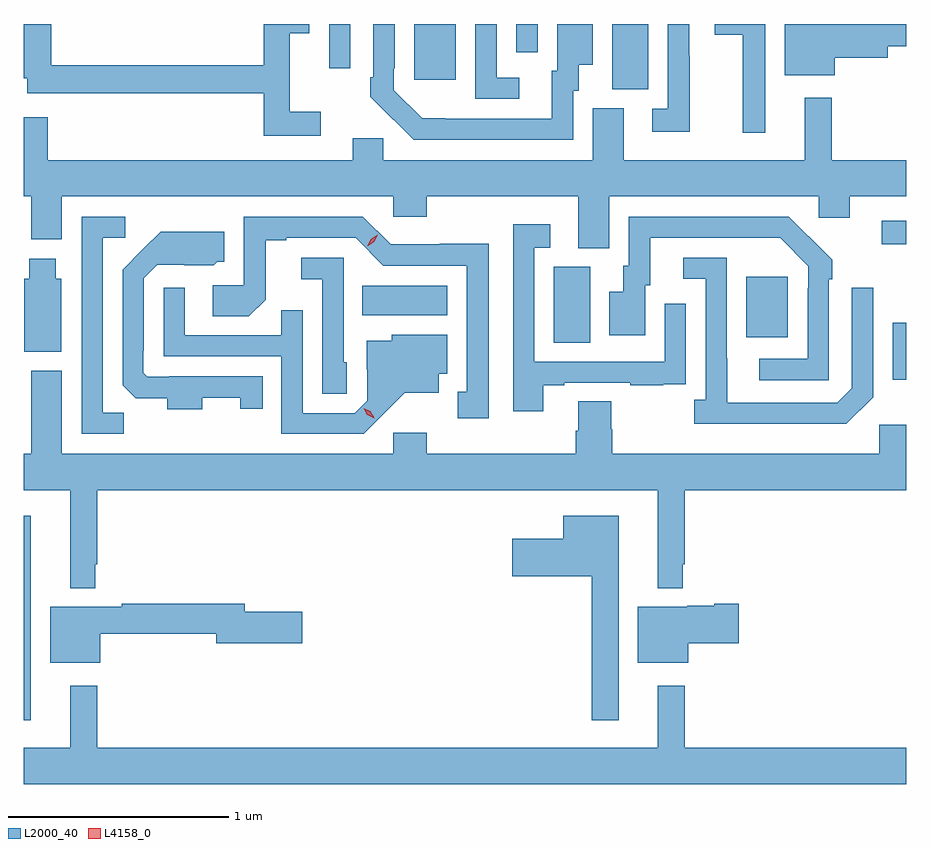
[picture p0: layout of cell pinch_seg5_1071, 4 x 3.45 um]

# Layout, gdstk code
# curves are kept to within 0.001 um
import gdstk
lib = gdstk.Library(unit=1e-6, precision=1e-09)
def R(c, l, rs):  # rectangles x0, y0, x1, y1
    for r in rs: c.add(gdstk.rectangle(r[:2], r[2:], *l))
def P(c, l, *ps):  # polygons
    for p in ps: c.add(gdstk.Polygon(p, *l))
L2000_40 = (2000, 40)
L4158_0 = (4158, 0)

pinch_seg5_1071 = lib.new_cell('pinch_seg5_1071')
R(pinch_seg5_1071, L2000_40, [(804.053,865.041,804.085,865.969), (807.992,866.585,808.053,866.842), (806.456,866.752,806.62,867.096), (807.329,866.777,807.517,867.052), (805.588,866.876,805.972,867.01), (807.942,867.198,808.053,867.306), (806.72,867.901,806.884,868.197), (805.823,867.945,806.011,868.197), (805.437,867.996,805.533,868.197), (806.286,868.068,806.382,868.197)])
P(pinch_seg5_1071, L2000_40, [(807.072,868.052),(807.069,868.052),(807.069,868.197),(806.973,868.197),(806.973,867.813),(806.901,867.813),(806.901,867.708),(807.072,867.708)],
  [(807.415,868.197),(807.185,868.197),(807.185,868.148),(807.311,868.148),(807.311,867.705),(807.415,867.705)],
  [(805.399,867.799),(805.259,867.799),(805.259,868.154),(805.348,868.154),(805.348,868.197),(805.141,868.197),(805.141,868.01),(804.178,868.01),(804.178,868.197),(804.053,868.197),(804.053,867.95),(804.068,867.95),(804.068,867.882),(805.141,867.882),(805.141,867.69),(805.399,867.69)],
  [(806.544,867.894),(806.569,867.894),(806.569,868.013),(806.632,868.013),(806.632,868.197),(806.471,868.197),(806.471,867.984),(806.447,867.984),(806.447,867.768),(805.86,867.769),(805.731,867.897),(805.731,867.997),(805.734,867.997),(805.734,868.197),(805.638,868.197),(805.638,867.955),(805.623,867.955),(805.623,867.867),(805.82,867.672),(806.544,867.672)],
  [(806.299,867.954),(806.196,867.954),(806.196,868.197),(806.1,868.197),(806.1,867.858),(806.299,867.858)],
  [(807.73,868.043),(807.97,868.043),(807.97,868.096),(808.053,868.096),(808.053,868.197),(807.503,868.197),(807.503,867.965),(807.73,867.965)],
  [(806.707,867.416),(807.657,867.416),(807.657,867.318),(807.796,867.318),(807.796,867.416),(808.053,867.416),(808.053,867.58),(807.715,867.58),(807.715,867.862),(807.593,867.862),(807.593,867.58),(806.773,867.58),(806.773,867.816),(806.633,867.816),(806.633,867.58),(805.683,867.58),(805.683,867.678),(805.544,867.678),(805.544,867.58),(804.161,867.58),(804.161,867.775),(804.053,867.775),(804.053,867.416),(804.086,867.416),(804.086,867.222),(804.226,867.222),(804.226,867.416),(805.728,867.416),(805.728,867.323),(805.88,867.323),(805.88,867.416),(806.567,867.416),(806.567,867.181),(806.707,867.181)],
  [(806.161,867.2),(805.938,867.2),(805.938,867.198),(805.716,867.198),(805.59,867.324),(805.05,867.324),(805.05,867.012),(804.909,867.012),(804.909,866.872),(805.073,866.872),(805.149,866.948),(805.149,867.216),(805.243,867.216),(805.243,867.228),(805.557,867.228),(805.683,867.102),(806.06,867.102),(806.06,866.529),(806.021,866.529),(806.021,866.409),(806.161,866.409)],
  [(807.702,867.041),(807.717,867.041),(807.717,867.129),(807.52,867.324),(806.796,867.324),(806.796,867.102),(806.771,867.102),(806.771,866.983),(806.708,866.983),(806.708,866.787),(806.869,866.787),(806.869,867.012),(806.893,867.012),(806.893,867.228),(807.481,867.228),(807.609,867.099),(807.609,866.999),(807.606,866.999),(807.606,866.679),(807.387,866.679),(807.387,866.583),(807.702,866.583)],
  [(804.507,866.435),(804.411,866.435),(804.411,867.228),(804.514,867.228),(804.514,867.324),(804.315,867.324),(804.315,866.34),(804.507,866.34)],
  [(806.407,866.559),(806.503,866.559),(806.503,866.571),(806.803,866.571),(806.803,866.559),(806.951,866.559),(806.951,866.565),(807.053,866.565),(807.053,866.674),(807.054,866.674),(807.054,866.929),(806.958,866.929),(806.958,866.667),(806.367,866.667),(806.367,867.183),(806.44,867.183),(806.44,867.289),(806.271,867.289),(806.271,866.442),(806.407,866.442)],
  [(804.862,866.503),(805.035,866.503),(805.035,866.454),(805.136,866.454),(805.136,866.601),(804.712,866.601),(804.712,866.598),(804.612,866.598),(804.594,866.616),(804.594,866.716),(804.597,866.716),(804.597,867.045),(804.657,867.105),(804.914,867.104),(804.93,867.12),(804.961,867.12),(804.961,867.256),(804.673,867.256),(804.501,867.082),(804.501,866.56),(804.56,866.501),(804.704,866.501),(804.704,866.45),(804.862,866.45)],
  [(807.903,866.505),(807.903,867.001),(807.807,867.001),(807.807,866.547),(807.741,866.481),(807.241,866.481),(807.24,867.138),(807.042,867.138),(807.042,867.042),(807.144,867.042),(807.144,866.494),(807.093,866.494),(807.093,866.384),(807.782,866.384)],
  [(805.518,866.664),(805.503,866.664),(805.503,867.138),(805.311,867.138),(805.311,867.041),(805.407,867.041),(805.407,866.521),(805.518,866.521)],
  [(804.223,867.042),(804.199,867.042),(804.199,867.133),(804.077,867.133),(804.077,867.042),(804.056,867.042),(804.056,866.711),(804.223,866.711)],
  [(805.678,866.423),(805.781,866.525),(805.933,866.525),(805.933,866.612),(805.972,866.612),(805.972,866.788),(805.722,866.788),(805.722,866.761),(805.607,866.761),(805.607,866.632),(805.611,866.632),(805.611,866.49),(805.554,866.433),(805.317,866.433),(805.317,866.9),(805.219,866.9),(805.219,866.787),(804.783,866.787),(804.783,867.001),(804.687,867.001),(804.687,866.691),(805.221,866.691),(805.221,866.34),(805.594,866.34)],
  [(804.378,865.747),(804.385,865.747),(804.385,866.084),(806.927,866.084),(806.927,865.64),(807.041,865.64),(807.041,865.747),(807.049,865.747),(807.049,866.084),(808.053,866.084),(808.053,866.38),(807.93,866.38),(807.93,866.248),(806.72,866.248),(806.72,866.361),(806.715,866.361),(806.715,866.486),(806.567,866.486),(806.567,866.354),(806.555,866.354),(806.555,866.248),(805.88,866.248),(805.88,866.344),(805.728,866.344),(805.728,866.248),(804.226,866.248),(804.226,866.626),(804.086,866.626),(804.086,866.248),(804.053,866.248),(804.053,866.084),(804.263,866.084),(804.263,865.64),(804.378,865.64)],
  [(806.749,865.969),(806.498,865.969),(806.498,865.864),(806.268,865.864),(806.268,865.694),(806.628,865.694),(806.628,865.041),(806.749,865.041)],
  [(804.4,865.432),(804.926,865.432),(804.926,865.39),(805.315,865.39),(805.315,865.532),(805.054,865.532),(805.054,865.568),(804.496,865.568),(804.496,865.555),(804.173,865.555),(804.173,865.301),(804.4,865.301)],
  [(807.064,865.39),(807.295,865.39),(807.295,865.568),(807.182,865.568),(807.182,865.561),(807.06,865.561),(807.06,865.555),(806.837,865.555),(806.837,865.301),(807.064,865.301)],
  [(808.053,864.916),(807.049,864.916),(807.049,865.198),(806.927,865.198),(806.927,864.916),(804.385,864.916),(804.385,865.198),(804.263,865.198),(804.263,864.916),(804.053,864.916),(804.053,864.752),(808.053,864.752)])
P(pinch_seg5_1071, L4158_0, [(805.609,867.189),(805.609,867.19),(805.626,867.222),(805.658,867.242),(805.658,867.242),(805.658,867.241),(805.641,867.209),(805.609,867.189)],
  [(805.642,866.411),(805.611,866.426),(805.594,866.456),(805.594,866.456),(805.594,866.456),(805.624,866.441),(805.642,866.412),(805.642,866.411)])

lib.write_gds('pinch_seg5_1071.gds')
